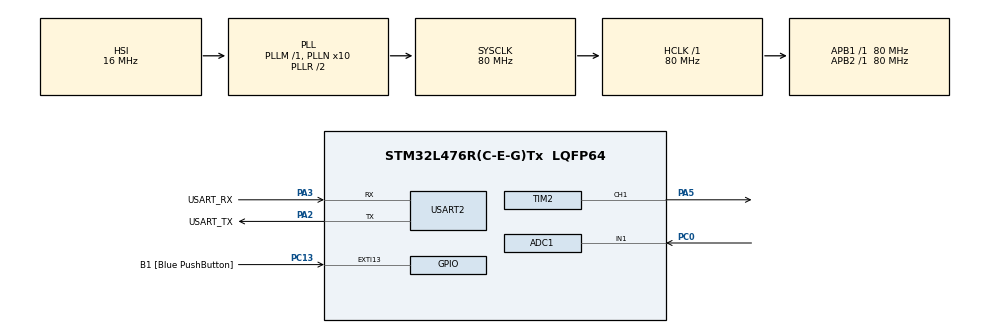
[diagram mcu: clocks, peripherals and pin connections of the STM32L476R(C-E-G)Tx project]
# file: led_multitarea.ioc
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ADC1.Channel-0\#ChannelRegularConversion=ADC_CHANNEL_1
ADC1.NbrOfConversionFlag=1
ADC1.OffsetNumber-0\#ChannelRegularConversion=ADC_OFFSET_NONE
ADC1.Rank-0\#ChannelRegularConversion=1
ADC1.SamplingTime-0\#ChannelRegularConversion=ADC_SAMPLETIME_2CYCLES_5
ADC1.master=1
FREERTOS.HEAP_NUMBER=4
FREERTOS.Tasks01=DebounceButton,25,128,StartDebounceButton,Default,NULL,Dynamic,NULL,NULL;OutputLED,17,128,StartOutputLED,Default,NULL,Dynamic,NULL,NULL;LightController,16,128,StartLightController,Default,NULL,Dynamic,NULL,NULL;AnalogRead,24,128,StartAnalogRead,Default,NULL,Dynamic,NULL,NULL
FREERTOS.configTOTAL_HEAP_SIZE=3000
Mcu.Family=STM32L4
Mcu.Name=STM32L476R(C-E-G)Tx
Mcu.Package=LQFP64
NVIC.PriorityGroup=NVIC_PRIORITYGROUP_4
NVIC.TIM1_UP_TIM16_IRQn=true\:0\:0\:false\:false\:true\:false\:false\:true
NVIC.TimeBase=TIM1_UP_TIM16_IRQn
NVIC.TimeBaseIP=TIM1
NVIC.USART2_IRQn=true\:5\:0\:false\:false\:true\:true\:true\:true
PA13\ (JTMS-SWDIO).GPIO_Label=TMS
PA13\ (JTMS-SWDIO).Mode=Serial_Wire
PA13\ (JTMS-SWDIO).Signal=SYS_JTMS-SWDIO
PA14\ (JTCK-SWCLK).GPIO_Label=TCK
PA14\ (JTCK-SWCLK).Mode=Serial_Wire
PA14\ (JTCK-SWCLK).Signal=SYS_JTCK-SWCLK
PA2.GPIO_Label=USART_TX
PA2.GPIO_Mode=GPIO_MODE_AF_PP
PA2.GPIO_PuPd=GPIO_NOPULL
PA2.GPIO_Speed=GPIO_SPEED_FREQ_VERY_HIGH
PA2.Mode=Asynchronous
PA2.Signal=USART2_TX
PA3.GPIO_Label=USART_RX
PA3.GPIO_Mode=GPIO_MODE_AF_PP
PA3.GPIO_PuPd=GPIO_NOPULL
PA3.GPIO_Speed=GPIO_SPEED_FREQ_VERY_HIGH
PA3.Mode=Asynchronous
PA3.Signal=USART2_RX
PA5.Signal=S_TIM2_CH1
PB3\ (JTDO-TRACESWO).GPIO_Label=SWO
PB3\ (JTDO-TRACESWO).Signal=SYS_JTDO-SWO
PC0.Signal=ADCx_IN1
PC13.GPIO_Label=B1 [Blue PushButton]
PC13.GPIO_ModeDefaultEXTI=GPIO_MODE_IT_FALLING
PC13.GPIO_PuPd=GPIO_NOPULL
PC13.Signal=GPXTI13
PC14-OSC32_IN\ (PC14).Signal=RCC_OSC32_IN
PC15-OSC32_OUT\ (PC15).Signal=RCC_OSC32_OUT
PH0-OSC_IN\ (PH0).Signal=RCC_OSC_IN
PH1-OSC_OUT\ (PH1).Signal=RCC_OSC_OUT
ProjectManager.HeapSize=0x200
ProjectManager.StackSize=0x400
ProjectManager.TargetToolchain=STM32CubeIDE
RCC.ADCFreq_Value=64000000
RCC.AHBFreq_Value=80000000
RCC.APB1Freq_Value=80000000
RCC.APB1TimFreq_Value=80000000
RCC.APB2Freq_Value=80000000
RCC.APB2TimFreq_Value=80000000
RCC.CortexFreq_Value=80000000
RCC.HCLKFreq_Value=80000000
RCC.HSE_VALUE=8000000
RCC.HSI_VALUE=16000000
RCC.LSE_VALUE=32768
RCC.MSI_VALUE=4000000
RCC.PLLN=10
RCC.PLLSourceVirtual=RCC_PLLSOURCE_HSI
RCC.PREFETCH_ENABLE=1
RCC.SYSCLKFreq_VALUE=80000000
RCC.SYSCLKSource=RCC_SYSCLKSOURCE_PLLCLK
RCC.USBFreq_Value=64000000
RCC.VCOOutputFreq_Value=160000000
SH.ADCx_IN1.0=ADC1_IN1,IN1-Single-Ended
SH.S_TIM2_CH1.0=TIM2_CH1,PWM Generation1 CH1
TIM2.Channel-PWM\ Generation1\ CH1=TIM_CHANNEL_1
TIM2.Period=99
TIM2.Prescaler=800
USART2.VirtualMode-Asynchronous=VM_ASYNC
VP_FREERTOS_VS_CMSIS_V2.Mode=CMSIS_V2
VP_SYS_VS_tim1.Mode=TIM1
VP_TIM2_VS_ClockSourceINT.Mode=Internal
board=NUCLEO-L476RG

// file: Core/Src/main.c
/* USER CODE BEGIN Header */
/**
  ******************************************************************************
  * @file           : main.c
  * @brief          : Main program body
  ******************************************************************************
  * @attention
  *
  * <h2><center>&copy; Copyright (c) 2020 STMicroelectronics.
  * All rights reserved.</center></h2>
  *
  * This software component is licensed by ST under BSD 3-Clause license,
  * the "License"; You may not use this file except in compliance with the
  * License. You may obtain a copy of the License at:
  *                        opensource.org/licenses/BSD-3-Clause
  *
  ******************************************************************************
  */
/* USER CODE END Header */

#include "main.h"
#include "cmsis_os.h"

/* USER CODE BEGIN Includes */

#include <stdlib.h>

/* USER CODE END Includes */

ADC_HandleTypeDef hadc1;

TIM_HandleTypeDef htim2;

UART_HandleTypeDef huart2;

/* Definitions for DebounceButton */
osThreadId_t DebounceButtonHandle;
const osThreadAttr_t DebounceButton_attributes = {
  .name = "DebounceButton",
  .priority = (osPriority_t) osPriorityNormal1,
  .stack_size = 128 * 4
};
/* Definitions for OutputLED */
osThreadId_t OutputLEDHandle;
const osThreadAttr_t OutputLED_attributes = {
  .name = "OutputLED",
  .priority = (osPriority_t) osPriorityBelowNormal1,
  .stack_size = 128 * 4
};
/* Definitions for LightController */
osThreadId_t LightControllerHandle;
const osThreadAttr_t LightController_attributes = {
  .name = "LightController",
  .priority = (osPriority_t) osPriorityBelowNormal,
  .stack_size = 128 * 4
};
/* Definitions for AnalogRead */
osThreadId_t AnalogReadHandle;
const osThreadAttr_t AnalogRead_attributes = {
  .name = "AnalogRead",
  .priority = (osPriority_t) osPriorityNormal,
  .stack_size = 128 * 4
};

void SystemClock_Config(void);
static void MX_GPIO_Init(void);
static void MX_ADC1_Init(void);
static void MX_TIM2_Init(void);
static void MX_USART2_UART_Init(void);
void StartDebounceButton(void *argument);
void StartOutputLED(void *argument);
void StartLightController(void *argument);
void StartAnalogRead(void *argument);

/* USER CODE BEGIN 0 */

void HAL_UART_RxCpltCallback(UART_HandleTypeDef *huart) {
	if(huart->Instance == USART2) {
		// Si el caracter recibido es diferente al ASCII 10, guarda el dato en el buffer.
		if(rx_data != 10) {
			rx_buff[rx_index++] = rx_data;
		}
		else {
			if (rx_buff[0] == 'S' ||	// 'S' para atenuar con dato del UART.
				rx_buff[0] == 'A') {	// 'A' para atenuar con dato del ADC.
				dimmer_mode = rx_buff[0];
			}
			else {
				duty_serial = atoi((const char*)rx_buff);
			}
			for(int i = 0; i < 5; i++) {
				rx_buff[i] = 0;
			}
			rx_index = 0;
		}
		HAL_UART_Receive_IT(&huart2, &rx_data, 1);
	}
}

/* USER CODE END 0 */

int main(void)
{

  /* MCU Configuration--------------------------------------------------------*/

  /* Reset of all peripherals, Initializes the Flash interface and the Systick. */
  HAL_Init();

  /* Configure the system clock */
  SystemClock_Config();

  /* Initialize all configured peripherals */
  MX_GPIO_Init();
  MX_ADC1_Init();
  MX_TIM2_Init();
  MX_USART2_UART_Init();
  /* USER CODE BEGIN 2 */

  HAL_UART_Receive_IT(&huart2, &rx_data, 1);

  //Inicialización de variables globales.
  Light_State = OFF;

  button_press = 0;
  dimmer_mode = 'A';
  duty = 0;
  duty_serial = 0;

  rx_data = 0;
  rx_index = 0;

  touch_time = 0;
  tx_time = 0;
  adc_value = 0;

  /* USER CODE END 2 */

  /* Init scheduler */
  osKernelInitialize();

  /* USER CODE BEGIN RTOS_TIMERS */
  /* start timers, add new ones, ... */

  //Inicialización del temporizador por hardware
  HAL_TIM_PWM_Start(&htim2, TIM_CHANNEL_1);

  /* USER CODE END RTOS_TIMERS */

  /* Create the thread(s) */
  /* creation of DebounceButton */
  DebounceButtonHandle = osThreadNew(StartDebounceButton, NULL, &DebounceButton_attributes);

  /* creation of OutputLED */
  OutputLEDHandle = osThreadNew(StartOutputLED, NULL, &OutputLED_attributes);

  /* creation of LightController */
  LightControllerHandle = osThreadNew(StartLightController, NULL, &LightController_attributes);

  /* creation of AnalogRead */
  AnalogReadHandle = osThreadNew(StartAnalogRead, NULL, &AnalogRead_attributes);

  /* Start scheduler */
  osKernelStart();

  /* We should never get here as control is now taken by the scheduler */
  /* Infinite loop */
  while (1)
  {

  }
}

void SystemClock_Config(void)
{
  RCC_OscInitTypeDef RCC_OscInitStruct = {0};
  RCC_ClkInitTypeDef RCC_ClkInitStruct = {0};
  RCC_PeriphCLKInitTypeDef PeriphClkInit = {0};

  /** Initializes the CPU, AHB and APB busses clocks
  */
  RCC_OscInitStruct.OscillatorType = RCC_OSCILLATORTYPE_HSI;
  RCC_OscInitStruct.HSIState = RCC_HSI_ON;
  RCC_OscInitStruct.HSICalibrationValue = RCC_HSICALIBRATION_DEFAULT;
  RCC_OscInitStruct.PLL.PLLState = RCC_PLL_ON;
  RCC_OscInitStruct.PLL.PLLSource = RCC_PLLSOURCE_HSI;
  RCC_OscInitStruct.PLL.PLLM = 1;
  RCC_OscInitStruct.PLL.PLLN = 10;
  RCC_OscInitStruct.PLL.PLLP = RCC_PLLP_DIV7;
  RCC_OscInitStruct.PLL.PLLQ = RCC_PLLQ_DIV2;
  RCC_OscInitStruct.PLL.PLLR = RCC_PLLR_DIV2;
  if (HAL_RCC_OscConfig(&RCC_OscInitStruct) != HAL_OK)
  {
    Error_Handler();
  }
  /** Initializes the CPU, AHB and APB busses clocks
  */
  RCC_ClkInitStruct.ClockType = RCC_CLOCKTYPE_HCLK|RCC_CLOCKTYPE_SYSCLK
                              |RCC_CLOCKTYPE_PCLK1|RCC_CLOCKTYPE_PCLK2;
  RCC_ClkInitStruct.SYSCLKSource = RCC_SYSCLKSOURCE_PLLCLK;
  RCC_ClkInitStruct.AHBCLKDivider = RCC_SYSCLK_DIV1;
  RCC_ClkInitStruct.APB1CLKDivider = RCC_HCLK_DIV1;
  RCC_ClkInitStruct.APB2CLKDivider = RCC_HCLK_DIV1;

  if (HAL_RCC_ClockConfig(&RCC_ClkInitStruct, FLASH_LATENCY_4) != HAL_OK)
  {
    Error_Handler();
  }
  PeriphClkInit.PeriphClockSelection = RCC_PERIPHCLK_USART2|RCC_PERIPHCLK_ADC;
  PeriphClkInit.Usart2ClockSelection = RCC_USART2CLKSOURCE_PCLK1;
  PeriphClkInit.AdcClockSelection = RCC_ADCCLKSOURCE_PLLSAI1;
  PeriphClkInit.PLLSAI1.PLLSAI1Source = RCC_PLLSOURCE_HSI;
  PeriphClkInit.PLLSAI1.PLLSAI1M = 1;
  PeriphClkInit.PLLSAI1.PLLSAI1N = 8;
  PeriphClkInit.PLLSAI1.PLLSAI1P = RCC_PLLP_DIV7;
  PeriphClkInit.PLLSAI1.PLLSAI1Q = RCC_PLLQ_DIV2;
  PeriphClkInit.PLLSAI1.PLLSAI1R = RCC_PLLR_DIV2;
  PeriphClkInit.PLLSAI1.PLLSAI1ClockOut = RCC_PLLSAI1_ADC1CLK;
  if (HAL_RCCEx_PeriphCLKConfig(&PeriphClkInit) != HAL_OK)
  {
    Error_Handler();
  }
  /** Configure the main internal regulator output voltage
  */
  if (HAL_PWREx_ControlVoltageScaling(PWR_REGULATOR_VOLTAGE_SCALE1) != HAL_OK)
  {
    Error_Handler();
  }
}

static void MX_ADC1_Init(void)
{

  ADC_MultiModeTypeDef multimode = {0};
  ADC_ChannelConfTypeDef sConfig = {0};

  /** Common config
  */
  hadc1.Instance = ADC1;
  hadc1.Init.ClockPrescaler = ADC_CLOCK_ASYNC_DIV1;
  hadc1.Init.Resolution = ADC_RESOLUTION_12B;
  hadc1.Init.DataAlign = ADC_DATAALIGN_RIGHT;
  hadc1.Init.ScanConvMode = ADC_SCAN_DISABLE;
  hadc1.Init.EOCSelection = ADC_EOC_SINGLE_CONV;
  hadc1.Init.LowPowerAutoWait = DISABLE;
  hadc1.Init.ContinuousConvMode = DISABLE;
  hadc1.Init.NbrOfConversion = 1;
  hadc1.Init.DiscontinuousConvMode = DISABLE;
  hadc1.Init.NbrOfDiscConversion = 1;
  hadc1.Init.ExternalTrigConv = ADC_SOFTWARE_START;
  hadc1.Init.ExternalTrigConvEdge = ADC_EXTERNALTRIGCONVEDGE_NONE;
  hadc1.Init.DMAContinuousRequests = DISABLE;
  hadc1.Init.Overrun = ADC_OVR_DATA_PRESERVED;
  hadc1.Init.OversamplingMode = DISABLE;
  if (HAL_ADC_Init(&hadc1) != HAL_OK)
  {
    Error_Handler();
  }
  /** Configure the ADC multi-mode
  */
  multimode.Mode = ADC_MODE_INDEPENDENT;
  if (HAL_ADCEx_MultiModeConfigChannel(&hadc1, &multimode) != HAL_OK)
  {
    Error_Handler();
  }
  /** Configure Regular Channel
  */
  sConfig.Channel = ADC_CHANNEL_1;
  sConfig.Rank = ADC_REGULAR_RANK_1;
  sConfig.SamplingTime = ADC_SAMPLETIME_2CYCLES_5;
  sConfig.SingleDiff = ADC_SINGLE_ENDED;
  sConfig.OffsetNumber = ADC_OFFSET_NONE;
  sConfig.Offset = 0;
  if (HAL_ADC_ConfigChannel(&hadc1, &sConfig) != HAL_OK)
  {
    Error_Handler();
  }

}

static void MX_TIM2_Init(void)
{

  TIM_ClockConfigTypeDef sClockSourceConfig = {0};
  TIM_MasterConfigTypeDef sMasterConfig = {0};
  TIM_OC_InitTypeDef sConfigOC = {0};

  htim2.Instance = TIM2;
  htim2.Init.Prescaler = 800;
  htim2.Init.CounterMode = TIM_COUNTERMODE_UP;
  htim2.Init.Period = 99;
  htim2.Init.ClockDivision = TIM_CLOCKDIVISION_DIV1;
  htim2.Init.AutoReloadPreload = TIM_AUTORELOAD_PRELOAD_DISABLE;
  if (HAL_TIM_Base_Init(&htim2) != HAL_OK)
  {
    Error_Handler();
  }
  sClockSourceConfig.ClockSource = TIM_CLOCKSOURCE_INTERNAL;
  if (HAL_TIM_ConfigClockSource(&htim2, &sClockSourceConfig) != HAL_OK)
  {
    Error_Handler();
  }
  if (HAL_TIM_PWM_Init(&htim2) != HAL_OK)
  {
    Error_Handler();
  }
  sMasterConfig.MasterOutputTrigger = TIM_TRGO_RESET;
  sMasterConfig.MasterSlaveMode = TIM_MASTERSLAVEMODE_DISABLE;
  if (HAL_TIMEx_MasterConfigSynchronization(&htim2, &sMasterConfig) != HAL_OK)
  {
    Error_Handler();
  }
  sConfigOC.OCMode = TIM_OCMODE_PWM1;
  sConfigOC.Pulse = 0;
  sConfigOC.OCPolarity = TIM_OCPOLARITY_HIGH;
  sConfigOC.OCFastMode = TIM_OCFAST_DISABLE;
  if (HAL_TIM_PWM_ConfigChannel(&htim2, &sConfigOC, TIM_CHANNEL_1) != HAL_OK)
  {
    Error_Handler();
  }
  HAL_TIM_MspPostInit(&htim2);

}

static void MX_USART2_UART_Init(void)
{

  huart2.Instance = USART2;
  huart2.Init.BaudRate = 115200;
  huart2.Init.WordLength = UART_WORDLENGTH_8B;
  huart2.Init.StopBits = UART_STOPBITS_1;
  huart2.Init.Parity = UART_PARITY_NONE;
  huart2.Init.Mode = UART_MODE_TX_RX;
  huart2.Init.HwFlowCtl = UART_HWCONTROL_NONE;
  huart2.Init.OverSampling = UART_OVERSAMPLING_16;
  huart2.Init.OneBitSampling = UART_ONE_BIT_SAMPLE_DISABLE;
  huart2.AdvancedInit.AdvFeatureInit = UART_ADVFEATURE_NO_INIT;
  if (HAL_UART_Init(&huart2) != HAL_OK)
  {
    Error_Handler();
  }

}

static void MX_GPIO_Init(void)
{
  GPIO_InitTypeDef GPIO_InitStruct = {0};

  /* GPIO Ports Clock Enable */
  __HAL_RCC_GPIOC_CLK_ENABLE();
  __HAL_RCC_GPIOH_CLK_ENABLE();
  __HAL_RCC_GPIOA_CLK_ENABLE();
  __HAL_RCC_GPIOB_CLK_ENABLE();

  /*Configure GPIO pin : B1_Pin */
  GPIO_InitStruct.Pin = B1_Pin;
  GPIO_InitStruct.Mode = GPIO_MODE_IT_FALLING;
  GPIO_InitStruct.Pull = GPIO_NOPULL;
  HAL_GPIO_Init(B1_GPIO_Port, &GPIO_InitStruct);

}

void StartDebounceButton(void *argument)
{
  /* USER CODE BEGIN 5 */
  /* Infinite loop */

  static states Button_State = Waiting;	// Estado del pulsador durante el antirrebote.
  static uint8_t button_count = 0;		// Tiempo que ha estado pulsado B1.

  for(;;)
  {
	switch (Button_State) {
		case Waiting:
			if (BUTTON) {
				Button_State = Detected;
				button_count = 0;
			}
			break;
		case Detected:
			if (BUTTON) {
				button_count++;
				if (button_count > MIN_BUTTON_COUNT) {
					Button_State = WaitForRelease;
				}
			}
			else {
				Button_State = Waiting;
			}
			break;
		case WaitForRelease:
			if (!BUTTON) {
				Button_State = Update;
			}
			break;
		case Update:
			button_press = 1;
			Button_State = Waiting;
			button_count = 0;
			break;
	}

	osDelay(10);
  }
  /* USER CODE END 5 */
}

void StartOutputLED(void *argument)
{
  /* USER CODE BEGIN StartOutputLED */
  /* Infinite loop */
  for(;;)
  {
	itoa(duty, (char*)tx_buff, 10);
	switch (Light_State) {
		case OFF:
			duty = 0;
			// Caracter de la trama a enviar que indica el estado del LED.
			tx_buff[2] = 'O';
			break;
		case DIMMED:
			if (dimmer_mode == 'S') {
				duty = duty_serial;
			}
			else if (dimmer_mode == 'A') {
				// Expresa el valor del ADC en porcentaje.
				duty = (adc_value * 100) >> 12;
			}
			tx_buff[2] = 'D';
			break;
		case BRIGHT:
			duty = 99;
			tx_buff[2] = 'B';
			break;
	}
	__HAL_TIM_SET_COMPARE(&htim2, TIM_CHANNEL_1, duty);

	osDelay(100);
  }
  /* USER CODE END StartOutputLED */
}

void StartLightController(void *argument)
{
  /* USER CODE BEGIN StartLightController */
  /* Infinite loop */

  uint16_t sw_time = 4000;		// Tiempo de conmutación de B1.
  uint16_t idle_time = 20000;	// Tiempo de espera.

  for(;;)
  {
	if (button_press) {
		switch (Light_State) {
			case OFF:
				if (touch_time < idle_time) {
					Light_State = DIMMED;
				}
				else {
					Light_State = BRIGHT;
				}
				break;
			case DIMMED:
				if (touch_time < sw_time) {
					Light_State = BRIGHT;
				}
				else {
					Light_State = OFF;
				}
				break;
			case BRIGHT:
				if (touch_time < sw_time) {
					Light_State = OFF;
				}
				else {
					Light_State = DIMMED;
				}
				break;
		}
		touch_time = 0;
		button_press = 0;
	}

	osDelay(100);
  }
  /* USER CODE END StartLightController */
}

void StartAnalogRead(void *argument)
{
  /* USER CODE BEGIN StartAnalogRead */
  /* Infinite loop */

  uint32_t adc_filter[4];	// Valores el ADC a filtrar.
  uint8_t adc_x = 0;		// Índice del filtro.

  for(;;)
  {
	// Se recibe el valor del ADC.
	adc_filter[adc_x] = HAL_ADC_GetValue(&hadc1);
	// Se promedia el valor con el resto de los coeficientes.
	adc_value = (adc_filter[0] + adc_filter[1] + adc_filter[2] + adc_filter[3]) >> 2;
	// Se reinicia el proceso del proceso de lectura del ADC.
	HAL_ADC_Start(&hadc1);
	// Se genera una espera hasta que se produzca la lectura.
	while(HAL_ADC_PollForConversion(&hadc1, 1) != HAL_OK);
	// Se incrementa el índice del filtro.
	adc_x = (adc_x == 3) ? 0 : adc_x + 1;

	osDelay(10);
  }
  /* USER CODE END StartAnalogRead */
}

 /**
  * @brief  Period elapsed callback in non blocking mode
  * @note   This function is called  when TIM1 interrupt took place, inside
  * HAL_TIM_IRQHandler(). It makes a direct call to HAL_IncTick() to increment
  * a global variable "uwTick" used as application time base.
  * @param  htim : TIM handle
  * @retval None
  */
void HAL_TIM_PeriodElapsedCallback(TIM_HandleTypeDef *htim)
{
  if (htim->Instance == TIM1) {
    HAL_IncTick();
  }
}

void Error_Handler(void)
{
}

/************************ (C) COPYRIGHT STMicroelectronics *****END OF FILE****/
